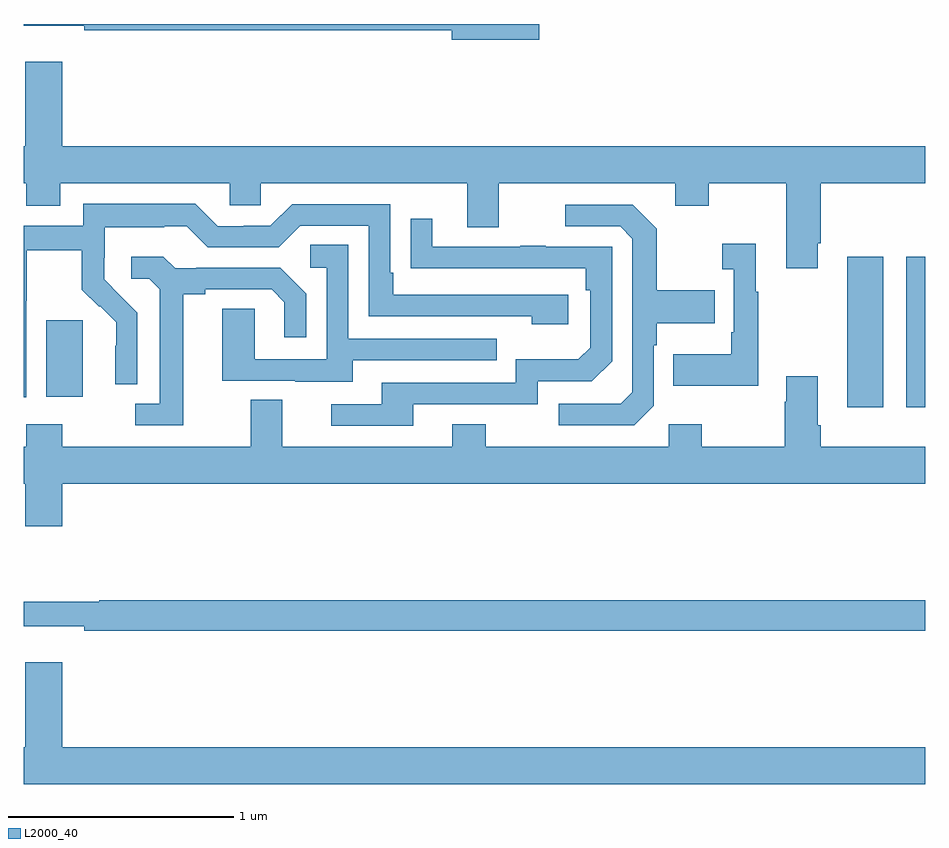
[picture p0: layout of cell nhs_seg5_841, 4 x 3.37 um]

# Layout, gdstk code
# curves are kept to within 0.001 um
import gdstk
lib = gdstk.Library(unit=1e-6, precision=1e-09)
def R(c, l, rs):  # rectangles x0, y0, x1, y1
    for r in rs: c.add(gdstk.rectangle(r[:2], r[2:], *l))
def P(c, l, *ps):  # polygons
    for p in ps: c.add(gdstk.Polygon(p, *l))
L2000_40 = (2000, 40)

nhs_seg5_841 = lib.new_cell('nhs_seg5_841')
R(nhs_seg5_841, L2000_40, [(168.653,857.1,168.814,857.767), (168.914,857.1,169,857.767), (165.101,857.145,165.262,857.485)])
P(nhs_seg5_841, L2000_40, [(167.287,858.799),(165,858.799),(165,858.791),(165.268,858.791),(165.268,858.772),(166.898,858.772),(166.898,858.73),(167.287,858.73)],
  [(168.523,857.827),(168.536,857.827),(168.536,858.092),(169,858.092),(169,858.256),(165.172,858.256),(165.172,858.631),(165.008,858.631),(165.008,858.256),(165,858.256),(165,858.092),(165.011,858.092),(165.011,857.993),(165.163,857.993),(165.163,858.092),(165.915,858.092),(165.915,857.994),(166.053,857.994),(166.053,858.092),(166.967,858.092),(166.967,857.898),(167.107,857.898),(167.107,858.092),(167.891,858.092),(167.891,857.993),(168.039,857.993),(168.039,858.092),(168.383,858.092),(168.383,857.715),(168.523,857.715)],
  [(165.012,857.572),(165.015,857.572),(165.015,857.796),(165.259,857.796),(165.259,857.621),(165.336,857.544),(165.339,857.547),(165.41,857.477),(165.41,857.372),(165.407,857.372),(165.407,857.2),(165.504,857.2),(165.504,857.518),(165.358,857.666),(165.358,857.763),(165.36,857.763),(165.36,857.897),(165.623,857.897),(165.623,857.901),(165.723,857.901),(165.816,857.808),(166.131,857.808),(166.227,857.904),(166.53,857.904),(166.53,857.502),(167.255,857.502),(167.255,857.468),(167.416,857.468),(167.416,857.598),(166.639,857.598),(166.639,857.695),(166.626,857.695),(166.626,858),(166.191,858),(166.095,857.904),(165.977,857.904),(165.977,857.901),(165.861,857.901),(165.761,858.001),(165.264,858.001),(165.264,857.904),(165,857.904),(165,857.143),(165.012,857.143)],
  [(167.796,857.106),(167.796,857.375),(167.809,857.375),(167.809,857.471),(168.065,857.471),(168.065,857.619),(167.809,857.619),(167.809,857.891),(167.703,857.997),(167.403,857.997),(167.403,857.901),(167.646,857.901),(167.7,857.847),(167.7,857.166),(167.649,857.115),(167.373,857.115),(167.373,857.019),(167.709,857.019)],
  [(166.729,857.112),(167.28,857.112),(167.28,857.214),(167.52,857.214),(167.61,857.304),(167.61,857.811),(167.315,857.811),(167.315,857.816),(167.203,857.816),(167.203,857.811),(166.813,857.811),(166.813,857.935),(166.717,857.935),(166.717,857.716),(167.494,857.715),(167.494,857.618),(167.514,857.618),(167.514,857.364),(167.461,857.311),(167.184,857.311),(167.184,857.208),(166.589,857.208),(166.589,857.112),(166.365,857.112),(166.365,857.016),(166.729,857.016)],
  [(168.259,857.611),(168.247,857.611),(168.247,857.824),(168.099,857.824),(168.099,857.711),(168.15,857.711),(168.15,857.431),(168.138,857.431),(168.138,857.335),(167.881,857.335),(167.881,857.195),(168.259,857.195)],
  [(166.459,857.307),(167.099,857.307),(167.099,857.403),(166.44,857.403),(166.44,857.819),(166.272,857.819),(166.272,857.718),(166.344,857.718),(166.344,857.313),(166.026,857.313),(166.026,857.537),(165.881,857.537),(165.881,857.217),(166.205,857.217),(166.205,857.213),(166.459,857.213)],
  [(165.709,857.6),(165.805,857.6),(165.805,857.622),(166.1,857.622),(166.157,857.565),(166.157,857.409),(166.254,857.409),(166.254,857.602),(166.138,857.718),(165.766,857.718),(165.766,857.715),(165.672,857.715),(165.62,857.767),(165.477,857.767),(165.477,857.67),(165.558,857.67),(165.605,857.623),(165.605,857.115),(165.495,857.115),(165.495,857.019),(165.709,857.019)],
  [(165.172,856.76),(169,856.76),(169,856.924),(168.536,856.924),(168.536,857.02),(168.523,857.02),(168.523,857.236),(168.383,857.236),(168.383,857.123),(168.376,857.123),(168.376,856.924),(168.009,856.924),(168.009,857.023),(167.862,857.023),(167.862,856.924),(167.049,856.924),(167.049,857.023),(166.901,857.023),(166.901,856.924),(166.147,856.924),(166.147,857.132),(166.007,857.132),(166.007,856.924),(165.171,856.924),(165.171,857.023),(165.011,857.023),(165.011,856.924),(165,856.924),(165,856.76),(165.008,856.76),(165.008,856.572),(165.172,856.572)],
  [(169,856.244),(165.335,856.244),(165.335,856.237),(165,856.237),(165,856.127),(165.268,856.127),(165.268,856.108),(169,856.108)],
  [(169,855.592),(165.172,855.592),(165.172,855.967),(165.008,855.967),(165.008,855.592),(165,855.592),(165,855.428),(169,855.428)])

lib.write_gds('nhs_seg5_841.gds')
